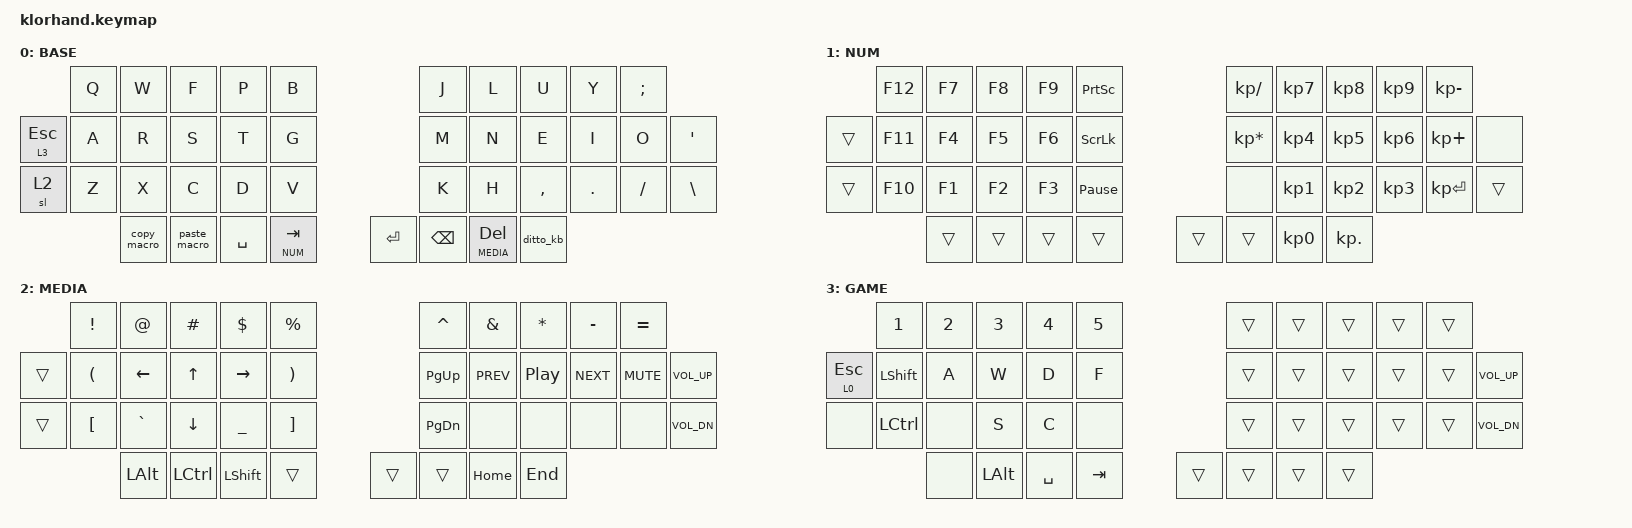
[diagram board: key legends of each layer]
#include <behaviors.dtsi>
#include <dt-bindings/zmk/keys.h>
//#include "zmk-helpers/helper.h"
//#include "zmk-helpers/key-labels/42.h"
//#include "zmk-helpers/unicode-chars/french.dtsi"

#define BASE    0
#define NUM     1
#define MEDIA   2
#define GAME    3
//#define COLEMAK 4

/ {
    behaviors {
        hm: homerow_mods {
            compatible = "zmk,behavior-hold-tap";
            label = "HOMEROW_MODS";
            #binding-cells = <2>;
            tapping-term-ms = <200>;			// <---[[produces tap if held longer than tapping-term-ms]]
            quick_tap_ms = <0>;
            flavor = "tap-preferred";
            bindings = <&kp>, <&kp>;
		};
		lc: layer_change {
			compatible = "zmk,behavior-hold-tap";
			#binding-cells = <2>;
			flavor = "hold-preferred";
			tapping-term-ms = <200>;
			quick-tap-ms = <200>;
			require-prior-idle-ms = <125>;
			bindings = <&to>, <&kp>;
		};
		dl: dualayer_change {
			compatible = "zmk,behavior-hold-tap";
			#binding-cells = <2>;
			flavor = "hold-preferred";
			tapping-term-ms = <200>;
			quick-tap-ms = <200>;
			require-prior-idle-ms = <125>;
			bindings = <&to>, <&sl>;
		};
		ts: temp_sticky {
			compatible = "zmk,behavior-hold-tap";
			#binding-cells = <2>;
			flavor = "hold-preferred";
			tapping-term-ms = <200>;
			quick-tap-ms = <200>;
			require-prior-idle-ms = <125>;
			bindings = <&mo>, <&to>;
		};
    };

     combos {
            compatible = "zmk,combos";
            combo_esc {
                timeout-ms = <50>;
                key-positions = <0 1>;
				layers = <0 1 2>;
                bindings = <&kp ESC>;
            };
			combo_boot {
                timeout-ms = <50>;
                key-positions = <10 21>;
				layers = <1 2>;
                bindings = <&bootloader>;
            };
			combo_undo {
                timeout-ms = <50>;
                key-positions = <34 35>;
				layers = <0 1 2>;
                bindings = <&undo_macro>;
            };
			combo_shift1 {
                timeout-ms = <50>;
                key-positions = <13 14>;
				layers = <0 1 2>;
                bindings = <&kp LSHFT>;
            };
			combo_shift2 {
                timeout-ms = <50>;
                key-positions = <17 18>;
				layers = <0 1 2>;
                bindings = <&kp LSHFT>;
            };
			combo_ctrl1 {
                timeout-ms = <50>;
                key-positions = <12 14>;
				layers = <0 1 2>;
                bindings = <&kp LALT>;
            };
			combo_ctrl2 {
                timeout-ms = <50>;
                key-positions = <17 19>;
				layers = <0 1 2>;
                bindings = <&kp LALT>;
            };
			combo_alt1 {
                timeout-ms = <50>;
                key-positions = <11 14>;
				layers = <0 1 2>;
                bindings = <&kp LCTRL>;
            };
			combo_alt2 {
                timeout-ms = <50>;
                key-positions = <17 20>;
				layers = <0 1 2>;
                bindings = <&kp LCTRL>;
            };
			combo_super {
                timeout-ms = <50>;
                key-positions = <11 12>;
				layers = <0 1 2>;
                bindings = <&kp LGUI>;
            };
/* 			combo_copy {
                timeout-ms = <50>;
                key-positions = <5 31 24>;
                bindings = <&bootloader>;
            };
			combo_paste {
                timeout-ms = <50>;
                key-positions = <5 31 12>;
                bindings = <&bootloader>;
            }; */
    };

      macros {
        ditto_kb: ditto_kb {
            compatible = "zmk,behavior-macro";
            #binding-cells = <0>;
            bindings
                = <&macro_press &kp LCTRL>
                , <&macro_tap &kp GRAVE>
                , <&macro_release &kp LCTRL>
                ;
        };
        copy_macro: copy_macro {
            compatible = "zmk,behavior-macro";
            #binding-cells = <0>;
            bindings
                = <&macro_press &kp LCTRL>
                , <&macro_tap &kp C>
                , <&macro_release &kp LCTRL>
                ;
        };
        paste_macro: paste_macro {
            compatible = "zmk,behavior-macro";
            #binding-cells = <0>;
            bindings
                = <&macro_press &kp LCTRL>
                , <&macro_tap &kp V>
                , <&macro_release &kp LCTRL>
                ;
        };
        undo_macro: undo_macro {
            compatible = "zmk,behavior-macro";
            #binding-cells = <0>;
            bindings
                = <&macro_press &kp LCTRL>
                , <&macro_tap &kp Z>
                , <&macro_release &kp LCTRL>
                ;
        };
    };
	
    keymap {
        compatible = "zmk,keymap";

//         base_layer {
// ┌───────────────────────────────────────────────────────────┐
//label= "BASE"                                                  ;
// └───────────────────────────────────────────────────────────┘
//             ┌─────────┬─────────┬─────────┬─────────┬─────────┐                                        ┌─────────┬─────────┬─────────┬─────────┬─────────┐
//             │    Q    │    W    │    E    │    R    │    T    │                                        │    Y    │    U    │    I    │    O    │    P    │   
//   ┌─────────┼─────────┼─────────┼─────────┼─────────┼─────────┤                                        ├─────────┼─────────┼─────────┼─────────┼─────────┼─────────┐
//   │   ESC   │    A    │    S    │    D    │    F    │    G    │                                        │    H    │    J    │    K    │    L    │    ;    │    '    │
//   ├─────────┼─────────┼─────────┼─────────┼─────────┼─────────┤                                        ├─────────┼─────────┼─────────┼─────────┼─────────┼─────────┤
//   │ MED/COL │    Z    │    X    │    C    │    V    │    B    │                                        │    N    │    M    │    ,    │    .    │    /    │    \    │
//   └─────────┴─────────┴─────────┴─────────┼─────────┼─────────┼─────────┬─────────┬┬─────────┬─────────┼─────────┼─────────┼─────────┴─────────┴─────────┴─────────┘
//                                           │   COPY  │  PASTE  │  SPACE  │   TAB   ││  ENTER  │  BSPCE  │   DEL   │  DITTO  │  
//                                           └─────────┴─────────┴─────────┴─────────┘└─────────┴─────────┴─────────┴─────────┘
// bindings = <
//                &kp Q      &kp W      &kp E       &kp R       &kp T	          						        &kp Y     &kp U       &kp I       &kp O      &kp P
//    &lc 3 ESC   &hm LGUI A &hm LALT S &hm LCTRL D &hm LSHFT F &kp G			  						        &kp H     &hm RSHFT J &hm RCTRL K &hm RALT L &kp SEMI  &kp SQT
//    &dl 2 4       &kp Z      &kp X      &kp C       &kp V       &kp B			  					            &kp N     &kp M       &kp COMMA   &kp DOT    &kp FSLH       &kp BSLH
//                         &copy_macro  &paste_macro  &kp SPACE &lt NUM TAB       &kp RET  &kp BSPC  &lt MEDIA DEL   &ditto_kb
//                        >;
//        };
         base_layer {
// ┌───────────────────────────────────────────────────────────┐
label= "BASE"                                                  ;
// └───────────────────────────────────────────────────────────┘
//             ┌─────────┬─────────┬─────────┬─────────┬─────────┐                                        ┌─────────┬─────────┬─────────┬─────────┬─────────┐
//             │    Q    │    W    │    F    │    P    │    B    │                                        │    J    │    L    │    U    │    Y    │    ;    │   
//   ┌─────────┼─────────┼─────────┼─────────┼─────────┼─────────┤                                        ├─────────┼─────────┼─────────┼─────────┼─────────┼─────────┐
//   │   ESC   │    A    │    R    │    S    │    T    │    G    │                                        │    M    │    N    │    E    │    I    │    O    │    '    │
//   ├─────────┼─────────┼─────────┼─────────┼─────────┼─────────┤                                        ├─────────┼─────────┼─────────┼─────────┼─────────┼─────────┤
//   │  MEDIA  │    Z    │    X    │    C    │    D    │    V    │                                        │    K    │    H    │    ,    │    .    │    /    │    \    │
//   └─────────┴─────────┴─────────┴─────────┼─────────┼─────────┼─────────┬─────────┬┬─────────┬─────────┼─────────┼─────────┼─────────┴─────────┴─────────┴─────────┘
//                                           │   COPY  │  PASTE  │  SPACE  │   TAB   ││  ENTER  │  BSPCE  │   DEL   │  DITTO  │  
//                                           └─────────┴─────────┴─────────┴─────────┘└─────────┴─────────┴─────────┴─────────┘
bindings = <
				&kp Q      &kp W      &kp F       &kp P       &kp B	          					&kp J     &kp L       &kp U       &kp Y      &kp SEMI
    &lc 3 ESC   &kp A      &kp R      &kp S       &kp T       &kp G			  					&kp M     &kp N       &kp E       &kp I      &kp O      &kp SQT
    &sl 2       &kp Z      &kp X      &kp C       &kp D       &kp V			  					&kp K     &kp H       &kp COMMA   &kp DOT    &kp FSLH   &kp BSLH
								&copy_macro  &paste_macro  &kp SPACE &lt NUM TAB  &kp RET  &kp BSPC  &lt MEDIA DEL   &ditto_kb
                        >;
		};
		 num_layer {
// ┌───────────────────────────────────────────────────────────┐
label= "NUM"                                                 ;
// └───────────────────────────────────────────────────────────┘
//             ┌─────────┬─────────┬─────────┬─────────┬─────────┐                                        ┌─────────┬─────────┬─────────┬─────────┬─────────┐
//             │   F12   │    F7   │    F8   │    F9   │  PRINT  │                                        │    /    │    7    │    8    │    9    │    -    │   
//   ┌─────────┼─────────┼─────────┼─────────┼─────────┼─────────┤                                        ├─────────┼─────────┼─────────┼─────────┼─────────┼─────────┐
//   │         │   F11   │    F4   │    F5   │    F6   │  SCRL   │                                        │    *    │    4    │    5    │    6    │    +    │ ------- │
//   ├─────────┼─────────┼─────────┼─────────┼─────────┼─────────┤                                        ├─────────┼─────────┼─────────┼─────────┼─────────┼─────────┤
//   │         │   F10   │    F1   │    F2   │    F3   │  PAUSE  │                                        │ ------- │    1    │    2    │    3    │  ENTER  │         │
//   └─────────┴─────────┴─────────┴─────────┼─────────┼─────────┼─────────┬─────────┬┬─────────┬─────────┼─────────┼─────────┼─────────┴─────────┴─────────┴─────────┘
//                                           │   COPY  │  PASTE  │  SPACE  │   TAB   ││  ENTER  │  BSPCE  │    0    │    .    │  
//                                           └─────────┴─────────┴─────────┴─────────┘└─────────┴─────────┴─────────┴─────────┘
 bindings = <
 //╷         ╷         ╷         ╷         ╷         ╷         ╷         ╷╷         ╷         ╷         ╷         ╷         ╷         ╷         ╷
            &kp F12    &kp F7    &kp F8    &kp F9   &kp PSCRN                               &kp KP_DIVIDE   &kp KP_N7 &kp KP_N8 &kp KP_N9 &kp KP_MINUS
    &trans  &kp F11    &kp F4    &kp F5    &kp F6   &kp SLCK                                &kp KP_MULTIPLY &kp KP_N4 &kp KP_N5 &kp KP_N6 &kp KP_PLUS    &none
    &trans  &kp F10    &kp F1    &kp F2    &kp F3   &kp PAUSE_BREAK                         &none    &kp KP_N1 &kp KP_N2 &kp KP_N3 &kp KP_ENTER      &trans
                                           &trans   &trans  &trans  &trans  &trans  &trans  &kp KP_N0  &kp KP_DOT
                        >;
         };
		 media_layer {
// ┌───────────────────────────────────────────────────────────┐
label= "MEDIA"                                                 ;
// └───────────────────────────────────────────────────────────┘
//             ┌─────────┬─────────┬─────────┬─────────┬─────────┐                                        ┌─────────┬─────────┬─────────┬─────────┬─────────┐
//             │    !    │    @    │    #    │    $    │    %    │                                        │    ^    │    &    │    *    │    -    │    +    │   
//   ┌─────────┼─────────┼─────────┼─────────┼─────────┼─────────┤                                        ├─────────┼─────────┼─────────┼─────────┼─────────┼─────────┐
//   │         │    (    │    ←    │    ↑    │    →    │    )    │                                        │  PGUP   │    <    │  PLAY   │    >    │   MUTE  │  VOLUP  │
//   ├─────────┼─────────┼─────────┼─────────┼─────────┼─────────┤                                        ├─────────┼─────────┼─────────┼─────────┼─────────┼─────────┤
//   │         │    [    │    `    │    ↓    │    _    │    ]    │                                        │  PGDWN  │ ------- │ ------- │ ------- │ ------- │  VOLDWN │
//   └─────────┴─────────┴─────────┴─────────┼─────────┼─────────┼─────────┬─────────┬┬─────────┬─────────┼─────────┼─────────┼─────────┴─────────┴─────────┴─────────┘
//                                           │   ALT   │  CTRL   │  SHIFT  │   TAB   ││  ENTER  │  BSPCE  │  HOME   │   END   │  
//                                           └─────────┴─────────┴─────────┴─────────┘└─────────┴─────────┴─────────┴─────────┘
 bindings = <
 //╷         ╷         ╷         ╷         ╷         ╷         ╷         ╷╷         ╷         ╷         ╷         ╷         ╷         ╷         ╷
            &kp EXCL    &kp AT     &kp HASH    &kp DLLR    &kp PRCNT                               &kp CARET   &kp AMPS   &kp ASTRK   &kp MINUS     &kp EQUAL
    &trans  &kp LPAR    &kp LEFT   &kp UP      &kp RIGHT   &kp RPAR                                &kp PG_UP   &kp C_PREV &kp C_PP    &kp C_NEXT &kp C_MUTE  &kp C_VOL_UP
    &trans  &kp LBKT    &kp GRAVE  &kp DOWN    &kp UNDER   &kp RBKT                                &kp PG_DN   &none      &none       &none      &none       &kp C_VOL_DN
                                                     &kp LALT   &kp LCTRL  &kp LSHFT  &trans  &trans  &trans  &kp HOME  &kp END  
                        >;
         };
		 game_layer {
// ┌───────────────────────────────────────────────────────────┐
label= "GAME"                                                 ;
// └───────────────────────────────────────────────────────────┘
//             ┌─────────┬─────────┬─────────┬─────────┬─────────┐                                        ┌─────────┬─────────┬─────────┬─────────┬─────────┐
//             │    1    │    2    │    3    │    4    │    5    │                                        │         │         │         │         │         │   
//   ┌─────────┼─────────┼─────────┼─────────┼─────────┼─────────┤                                        ├─────────┼─────────┼─────────┼─────────┼─────────┼─────────┐
//   │   ESC   │  SHIFT  │    A    │    W    │    D    │    F    │                                        │         │         │         │         │         │  VOLUP  │
//   ├─────────┼─────────┼─────────┼─────────┼─────────┼─────────┤                                        ├─────────┼─────────┼─────────┼─────────┼─────────┼─────────┤
//   │ ------- │  CRTL   │ ------- │    S    │    C    │ ------- │                                        │         │         │         │         │         │  VOLDWN │
//   └─────────┴─────────┴─────────┴─────────┼─────────┼─────────┼─────────┬─────────┬┬─────────┬─────────┼─────────┼─────────┼─────────┴─────────┴─────────┴─────────┘
//                                           │ ------- │   ALT   │  SPACE  │   TAB   ││         │         │         │         │  
//                                           └─────────┴─────────┴─────────┴─────────┘└─────────┴─────────┴─────────┴─────────┘
 bindings = <
 //╷         ╷         ╷         ╷         ╷         ╷         ╷         ╷╷         ╷         ╷         ╷         ╷         ╷         ╷         ╷
            &kp N1     &kp N2  &kp N3   &kp N4  &kp N5                               &trans  &trans  &trans  &trans  &trans  
    &lc 0 ESC  &kp LSHFT  &kp A   &kp W    &kp D   &kp F                                &trans  &trans  &trans  &trans  &trans  &kp K_VOL_UP
    &none  &kp LCTRL  &none   &kp S    &kp C   &none                                &trans  &trans  &trans  &trans  &trans  &kp K_VOL_DN
                                           &none   &kp LALT  &kp SPACE  &kp TAB  &trans  &trans  &trans  &trans  
                        >;
         };
    };
};
